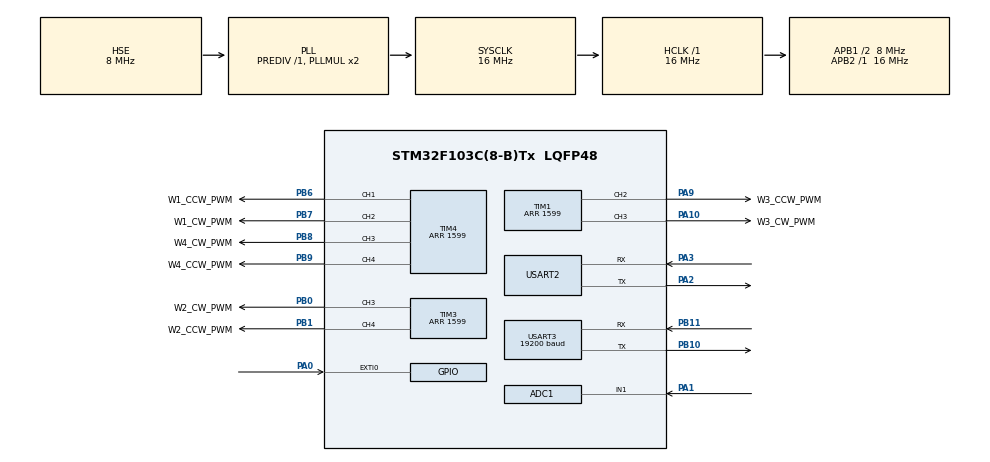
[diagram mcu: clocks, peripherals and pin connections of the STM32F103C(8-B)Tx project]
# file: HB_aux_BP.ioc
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ADC1.Channel-0\#ChannelRegularConversion=ADC_CHANNEL_1
ADC1.NbrOfConversionFlag=1
ADC1.Rank-0\#ChannelRegularConversion=1
ADC1.SamplingTime-0\#ChannelRegularConversion=ADC_SAMPLETIME_1CYCLE_5
ADC1.master=1
FREERTOS.Tasks01=defaultTask,24,256,StartDefaultTask,Default,NULL,Dynamic,NULL,NULL
Mcu.Family=STM32F1
Mcu.Name=STM32F103C(8-B)Tx
Mcu.Package=LQFP48
NVIC.PriorityGroup=NVIC_PRIORITYGROUP_4
NVIC.TIM2_IRQn=true\:15\:0\:false\:false\:true\:false\:false\:true\:true
NVIC.TimeBase=TIM2_IRQn
NVIC.TimeBaseIP=TIM2
NVIC.USART2_IRQn=true\:5\:0\:false\:false\:true\:true\:true\:true\:true
PA0-WKUP.Signal=GPXTI0
PA1.Signal=ADCx_IN1
PA10.GPIO_Label=W3_CW_PWM
PA10.Signal=S_TIM1_CH3
PA13.Mode=Serial_Wire
PA13.Signal=SYS_JTMS-SWDIO
PA14.Mode=Serial_Wire
PA14.Signal=SYS_JTCK-SWCLK
PA2.Mode=Asynchronous
PA2.Signal=USART2_TX
PA3.Mode=Asynchronous
PA3.Signal=USART2_RX
PA9.GPIO_Label=W3_CCW_PWM
PA9.Signal=S_TIM1_CH2
PB0.GPIO_Label=W2_CW_PWM
PB0.Signal=S_TIM3_CH3
PB1.GPIO_Label=W2_CCW_PWM
PB1.Signal=S_TIM3_CH4
PB10.Mode=Asynchronous
PB10.Signal=USART3_TX
PB11.Mode=Asynchronous
PB11.Signal=USART3_RX
PB6.GPIO_Label=W1_CCW_PWM
PB6.Signal=S_TIM4_CH1
PB7.GPIO_Label=W1_CW_PWM
PB7.Signal=S_TIM4_CH2
PB8.GPIO_Label=W4_CW_PWM
PB8.Signal=S_TIM4_CH3
PB9.GPIO_Label=W4_CCW_PWM
PB9.Signal=S_TIM4_CH4
PD0-OSC_IN.Mode=HSE-External-Oscillator
PD0-OSC_IN.Signal=RCC_OSC_IN
PD1-OSC_OUT.Mode=HSE-External-Oscillator
PD1-OSC_OUT.Signal=RCC_OSC_OUT
ProjectManager.HeapSize=0x200
ProjectManager.StackSize=0x400
ProjectManager.TargetToolchain=CMake
RCC.AHBFreq_Value=16000000
RCC.APB1CLKDivider=RCC_HCLK_DIV2
RCC.APB1Freq_Value=8000000
RCC.APB1TimFreq_Value=16000000
RCC.APB2Freq_Value=16000000
RCC.APB2TimFreq_Value=16000000
RCC.HCLKFreq_Value=16000000
RCC.PLLSourceVirtual=RCC_PLLSOURCE_HSE
RCC.SYSCLKFreq_VALUE=16000000
RCC.SYSCLKSource=RCC_SYSCLKSOURCE_PLLCLK
RCC.USBFreq_Value=16000000
SH.ADCx_IN1.0=ADC1_IN1,IN1
SH.S_TIM1_CH2.0=TIM1_CH2,PWM Generation2 CH2
SH.S_TIM1_CH3.0=TIM1_CH3,PWM Generation3 CH3
SH.S_TIM3_CH3.0=TIM3_CH3,PWM Generation3 CH3
SH.S_TIM3_CH4.0=TIM3_CH4,PWM Generation4 CH4
SH.S_TIM4_CH1.0=TIM4_CH1,PWM Generation1 CH1
SH.S_TIM4_CH2.0=TIM4_CH2,PWM Generation2 CH2
SH.S_TIM4_CH3.0=TIM4_CH3,PWM Generation3 CH3
SH.S_TIM4_CH4.0=TIM4_CH4,PWM Generation4 CH4
TIM1.Channel-PWM\ Generation2\ CH2=TIM_CHANNEL_2
TIM1.Channel-PWM\ Generation3\ CH3=TIM_CHANNEL_3
TIM1.Period=1599
TIM3.Channel-PWM\ Generation3\ CH3=TIM_CHANNEL_3
TIM3.Channel-PWM\ Generation4\ CH4=TIM_CHANNEL_4
TIM3.Period=1599
TIM4.Channel-PWM\ Generation1\ CH1=TIM_CHANNEL_1
TIM4.Channel-PWM\ Generation2\ CH2=TIM_CHANNEL_2
TIM4.Channel-PWM\ Generation3\ CH3=TIM_CHANNEL_3
TIM4.Channel-PWM\ Generation4\ CH4=TIM_CHANNEL_4
TIM4.Period=1599
USART2.VirtualMode=VM_ASYNC
USART3.BaudRate=19200
USART3.VirtualMode=VM_ASYNC
VP_FREERTOS_VS_CMSIS_V2.Mode=CMSIS_V2
VP_SYS_VS_tim2.Mode=TIM2
board=custom

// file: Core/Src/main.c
/* USER CODE BEGIN Header */
/**
  ******************************************************************************
  * @file           : main.c
  * @brief          : Main program body
  ******************************************************************************
  * @attention
  *
  * Copyright (c) 2024 STMicroelectronics.
  * All rights reserved.
  *
  * This software is licensed under terms that can be found in the LICENSE file
  * in the root directory of this software component.
  * If no LICENSE file comes with this software, it is provided AS-IS.
  *
  ******************************************************************************
  */
/* USER CODE END Header */
#include "main.h"
#include "cmsis_os.h"
#include "adc.h"
#include "tim.h"
#include "usart.h"
#include "gpio.h"

void SystemClock_Config(void);
void MX_FREERTOS_Init(void);

int main(void)
{

  /* MCU Configuration--------------------------------------------------------*/

  /* Reset of all peripherals, Initializes the Flash interface and the Systick. */
  HAL_Init();

  /* Configure the system clock */
  SystemClock_Config();

  /* Initialize all configured peripherals */
  MX_GPIO_Init();
  MX_USART3_UART_Init();
  MX_TIM3_Init();
  MX_TIM1_Init();
  MX_TIM4_Init();
  MX_USART2_UART_Init();
  MX_ADC1_Init();

  /* Init scheduler */
  osKernelInitialize();

  /* Call init function for freertos objects (in cmsis_os2.c) */
  MX_FREERTOS_Init();

  /* Start scheduler */
  osKernelStart();

  /* We should never get here as control is now taken by the scheduler */

  /* Infinite loop */
  while (1)
  {

  }
}

void SystemClock_Config(void)
{
  RCC_OscInitTypeDef RCC_OscInitStruct = {0};
  RCC_ClkInitTypeDef RCC_ClkInitStruct = {0};
  RCC_PeriphCLKInitTypeDef PeriphClkInit = {0};

  /** Initializes the RCC Oscillators according to the specified parameters
  * in the RCC_OscInitTypeDef structure.
  */
  RCC_OscInitStruct.OscillatorType = RCC_OSCILLATORTYPE_HSE;
  RCC_OscInitStruct.HSEState = RCC_HSE_ON;
  RCC_OscInitStruct.HSEPredivValue = RCC_HSE_PREDIV_DIV1;
  RCC_OscInitStruct.HSIState = RCC_HSI_ON;
  RCC_OscInitStruct.PLL.PLLState = RCC_PLL_ON;
  RCC_OscInitStruct.PLL.PLLSource = RCC_PLLSOURCE_HSE;
  RCC_OscInitStruct.PLL.PLLMUL = RCC_PLL_MUL2;
  if (HAL_RCC_OscConfig(&RCC_OscInitStruct) != HAL_OK)
  {
    Error_Handler();
  }

  /** Initializes the CPU, AHB and APB buses clocks
  */
  RCC_ClkInitStruct.ClockType = RCC_CLOCKTYPE_HCLK|RCC_CLOCKTYPE_SYSCLK
                              |RCC_CLOCKTYPE_PCLK1|RCC_CLOCKTYPE_PCLK2;
  RCC_ClkInitStruct.SYSCLKSource = RCC_SYSCLKSOURCE_PLLCLK;
  RCC_ClkInitStruct.AHBCLKDivider = RCC_SYSCLK_DIV1;
  RCC_ClkInitStruct.APB1CLKDivider = RCC_HCLK_DIV2;
  RCC_ClkInitStruct.APB2CLKDivider = RCC_HCLK_DIV1;

  if (HAL_RCC_ClockConfig(&RCC_ClkInitStruct, FLASH_LATENCY_0) != HAL_OK)
  {
    Error_Handler();
  }
  PeriphClkInit.PeriphClockSelection = RCC_PERIPHCLK_ADC;
  PeriphClkInit.AdcClockSelection = RCC_ADCPCLK2_DIV2;
  if (HAL_RCCEx_PeriphCLKConfig(&PeriphClkInit) != HAL_OK)
  {
    Error_Handler();
  }
}

void HAL_TIM_PeriodElapsedCallback(TIM_HandleTypeDef *htim)
{
  if (htim->Instance == TIM2) {
    HAL_IncTick();
  }
}

void Error_Handler(void)
{
  __disable_irq();
  while (1)
  {
  }
}

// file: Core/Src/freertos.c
/* USER CODE BEGIN Header */
/**
  ******************************************************************************
  * File Name          : freertos.c
  * Description        : Code for freertos applications
  ******************************************************************************
  * @attention
  *
  * Copyright (c) 2024 STMicroelectronics.
  * All rights reserved.
  *
  * This software is licensed under terms that can be found in the LICENSE file
  * in the root directory of this software component.
  * If no LICENSE file comes with this software, it is provided AS-IS.
  *
  ******************************************************************************
  */
/* USER CODE END Header */

#include "FreeRTOS.h"
#include "task.h"
#include "main.h"
#include "cmsis_os.h"

/* USER CODE BEGIN Includes */
#include <string.h>
#include <usart.h>
/* USER CODE END Includes */

/* USER CODE BEGIN PD */
#define BUFFER_SIZE 10

uint8_t rxBuffer[BUFFER_SIZE];
uint8_t tempBuffer[1];
uint16_t rxIndex = 0;
uint8_t dataReady = 0;
/* USER CODE END PD */

/* Definitions for defaultTask */
osThreadId_t defaultTaskHandle;
const osThreadAttr_t defaultTask_attributes = {
  .name = "defaultTask",
  .stack_size = 256 * 4,
  .priority = (osPriority_t) osPriorityNormal,
};

/* USER CODE BEGIN FunctionPrototypes */
void HAL_UART_RxCpltCallback(UART_HandleTypeDef *huart) {
  if (huart->Instance == USART2) {
    rxBuffer[rxIndex++] = tempBuffer[0];
    if (tempBuffer[0] == '\n') {
      dataReady = 1;
    }
    if (rxIndex >= BUFFER_SIZE) {
      rxIndex = 0; // Prevent buffer overflow
    }
    // Restart UART reception
    HAL_UART_Receive_IT(&huart2, tempBuffer, 1);

  }
}
/* USER CODE END FunctionPrototypes */

void StartDefaultTask(void *argument);

void MX_FREERTOS_Init(void); /* (MISRA C 2004 rule 8.1) */

void MX_FREERTOS_Init(void) {

  /* Create the thread(s) */
  /* creation of defaultTask */
  defaultTaskHandle = osThreadNew(StartDefaultTask, NULL, &defaultTask_attributes);

}

void StartDefaultTask(void *argument)
{
  /* USER CODE BEGIN StartDefaultTask */
  HAL_UART_Receive_IT(&huart2, tempBuffer, 1);
  /* Infinite loop */
  for(;;) {

    // char msg[] = "Hello there\r\n";
    // HAL_UART_Transmit(&huart3, (uint8_t*) msg, strlen(msg), HAL_MAX_DELAY);

    if (dataReady) {
      // Reset flag
      dataReady = 0;

      HAL_UART_Transmit(&huart3, rxBuffer, strlen(rxBuffer), HAL_MAX_DELAY);

      memset(rxBuffer, 0, BUFFER_SIZE);
      rxIndex = 0;
    }
  }
  /* USER CODE END StartDefaultTask */
}
